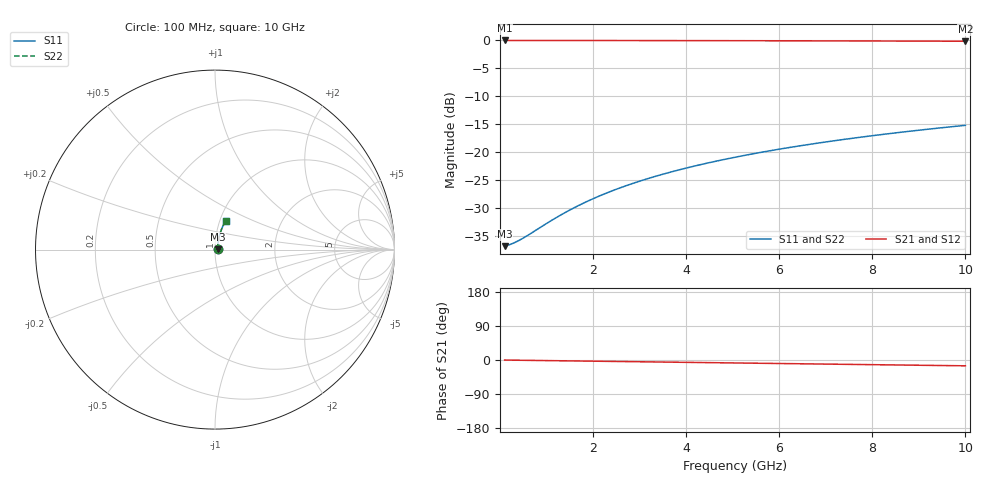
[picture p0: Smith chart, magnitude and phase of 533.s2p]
# Hz S RI R 50.00
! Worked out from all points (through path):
!   100 points, 100 MHz to 10 GHz, reference 50 ohm
!   highest |S21| = -0.12 dB at 100 MHz (marker M1); lowest = -0.3 dB at 10 GHz (marker M2)
!   group delay of S21, straight-line fit = 4.27 ps
!   lowest |S11| = -36.9 dB at 100 MHz (marker M3), VSWR 1.03, Z = 51.4 + j0.176 ohm
!   |S11| at or under -10 dB: start of sweep to end of sweep
!   |S22| runs from -36.9 to -15.3 dB; largest |S21 - S12| = 0
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1e8  0.0142 0.00171  0.9858 -0.00267  0.9858 -0.00267  0.0142 0.00171
2e8  0.0143 0.00342  0.9857 -0.00533  0.9857 -0.00533  0.0143 0.00342
3e8  0.0144 0.00514  0.9856 -0.00799  0.9856 -0.00799  0.0144 0.00514
4e8  0.0145 0.00685  0.9855 -0.0107  0.9855 -0.0107  0.0145 0.00685
6e8  0.0147 0.0103  0.9853 -0.016  0.9853 -0.016  0.0147 0.0103
1e9  0.0151 0.0171  0.9848 -0.0266  0.9848 -0.0266  0.0151 0.0171
1.3e9  0.0155 0.0222  0.9844 -0.0346  0.9844 -0.0346  0.0155 0.0222
1.5e9  0.0158 0.0256  0.9841 -0.0399  0.9841 -0.0399  0.0158 0.0256
1.8e9  0.0163 0.0307  0.9835 -0.0479  0.9835 -0.0479  0.0163 0.0307
2.1e9  0.0169 0.0358  0.9829 -0.0558  0.9829 -0.0558  0.0169 0.0358
2.5e9  0.0178 0.0426  0.9819 -0.0664  0.9819 -0.0664  0.0178 0.0426
2.9e9  0.0189 0.0493  0.9807 -0.077  0.9807 -0.077  0.0189 0.0493
3.4e9  0.0204 0.0577  0.9791 -0.0901  0.9791 -0.0901  0.0204 0.0577
3.8e9  0.0218 0.0644  0.9775 -0.1006  0.9775 -0.1006  0.0218 0.0644
4.2e9  0.0233 0.071  0.9759 -0.1111  0.9759 -0.1111  0.0233 0.071
4.6e9  0.0249 0.0776  0.9741 -0.1215  0.9741 -0.1215  0.0249 0.0776
5.1e9  0.0272 0.0858  0.9716 -0.1344  0.9716 -0.1344  0.0272 0.0858
5.9e9  0.0312 0.0988  0.9671 -0.155  0.9671 -0.155  0.0312 0.0988
6.7e9  0.0358 0.1115  0.9621 -0.1754  0.9621 -0.1754  0.0358 0.1115
7.5e9  0.0409 0.124  0.9564 -0.1956  0.9564 -0.1956  0.0409 0.124
8.4e9  0.0473 0.1377  0.9494 -0.2179  0.9494 -0.2179  0.0473 0.1377
1e10  0.0601 0.1611  0.9352 -0.2567  0.9352 -0.2567  0.0601 0.1611
